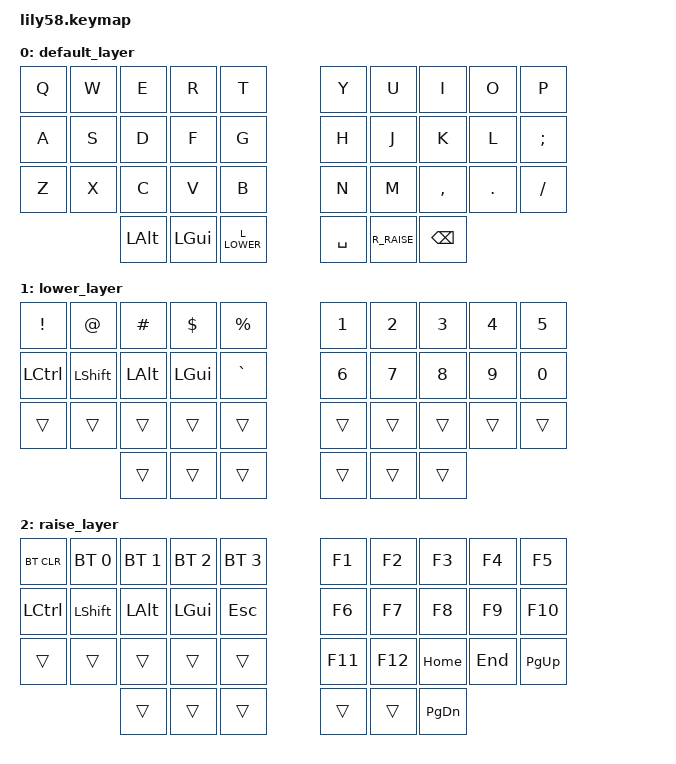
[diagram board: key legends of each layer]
// config/lily58.keymap

#include <behaviors.dtsi>
#include <dt-bindings/zmk/keys.h>
#include <dt-bindings/zmk/bt.h>

// 定义组合键
#define L_LOWER  &mo 1  // 按住进入 LOWER 层
#define R_RAISE  &mo 2  // 按住进入 RAISE 层

/ {
    // 定义键盘的行为 (behaviors)
    behaviors {
        // 定义一个按下是点号，长按是RAISE层切换的按键
        dot_raise: dot_raise {
            compatible = "zmk,behavior-hold-tap";
            label = "DOT_RAISE";
            #binding-cells = <0>;
            tapping-term-ms = <200>; // 200ms内松开为tap，否则为hold
            bindings = <&kp DOT>, <&mo 2>;
        };
    };

    // 定义按键映射 (keymap)
    keymap {
        compatible = "zmk,keymap";

        // 默认层 (Layer 0)
        default_layer {
            bindings = <
                &kp Q        &kp W        &kp E        &kp R        &kp T                          &kp Y        &kp U        &kp I        &kp O        &kp P
                &kp A        &kp S        &kp D        &kp F        &kp G                          &kp H        &kp J        &kp K        &kp L        &kp SEMI
                &kp Z        &kp X        &kp C        &kp V        &kp B                          &kp N        &kp M        &kp COMMA    &kp DOT      &kp FSLH
                                     &kp LALT     &kp LGUI     &L_LOWER     &kp SPC      &R_RAISE     &kp BSPC
            >;
        };

        // LOWER 层 (Layer 1)，主要放符号
        lower_layer {
            bindings = <
                &kp EXCL     &kp AT       &kp HASH     &kp DLLR     &kp PRCNT                      &kp N1       &kp N2       &kp N3       &kp N4       &kp N5
                &kp LCTRL    &kp LSHIFT   &kp LALT     &kp LGUI     &kp GRAVE                      &kp N6       &kp N7       &kp N8       &kp N9       &kp N0
                &trans       &trans       &trans       &trans       &trans                         &trans       &trans       &trans       &trans       &trans
                                     &trans       &trans       &trans       &trans       &trans       &trans
            >;
        };

        // RAISE 层 (Layer 2)，主要放功能键和蓝牙控制
        raise_layer {
            bindings = <
                &bt BT_CLR   &bt BT_SEL 0 &bt BT_SEL 1 &bt BT_SEL 2 &bt BT_SEL 3                 &kp F1       &kp F2       &kp F3       &kp F4       &kp F5
                &kp LCTRL    &kp LSHIFT   &kp LALT     &kp LGUI     &kp ESC                      &kp F6       &kp F7       &kp F8       &kp F9       &kp F10
                &trans       &trans       &trans       &trans       &trans                       &kp F11      &kp F12      &kp HOME     &kp END      &kp PG_UP
                                     &trans       &trans       &trans       &trans       &trans       &kp PG_DN
            >;
        };
    };
};
